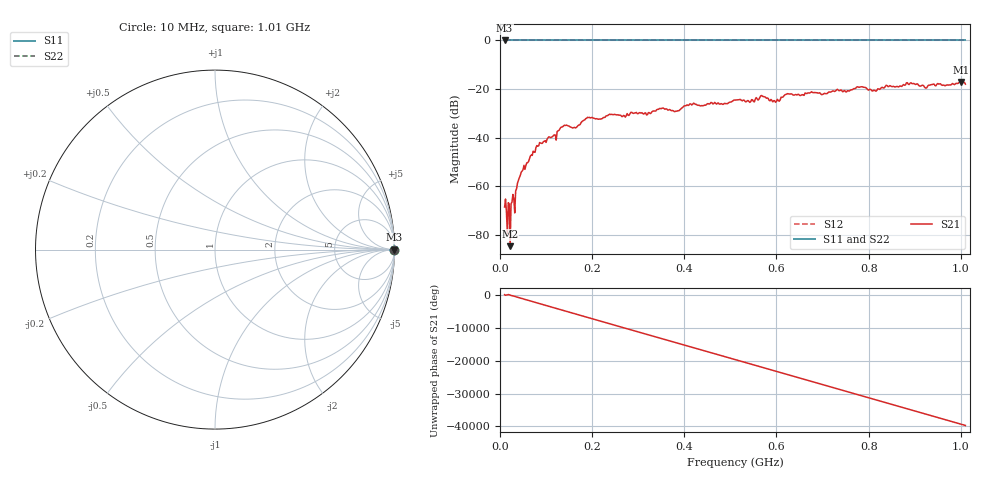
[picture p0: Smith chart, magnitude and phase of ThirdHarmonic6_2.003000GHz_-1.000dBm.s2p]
! 8/17/2025 12:03:54 AM
! C:\ANRITSUVNA\TEMP\TEMP.S2P
! CHANNEL.1
! TR.MEASUREMENT
! RAW.DATA
! RF.CORRECTION.OFF
! AVERAGING.OFF
! IF.BANDWIDTH: 5KHZ
! SWEEPTYPE:  FREQ.SWEEP(Linear)
! Reference Plane Port Info
! PORT:  PORT1  PORT2
! DISTANCE:  0  m  0  m
! TIME:  0  s  0  s
! PHASE.OFFSET:  0  deg.  0  deg.
! LOSS:  0  dB  0  dB
! REF.LOSS:  0  dB  0  dB
! REF.FREQ:  0  Hz  0  Hz
! Power Info
! POWER:  -20  dBm  -20  dBm
! EFF.POWER:  -20  dBm  -20  dBm
! SOURCE.ATTEN:  0  dB  0  dB
! TEST.ATTEN:  0  dB  0  dB
# GHZ S RI R 50.0
! FREQ.GHZ  S11RE  S11IM  S21RE  S21IM  S12RE  S12IM  S22RE  S22IM
!; PortSelection: Port_12
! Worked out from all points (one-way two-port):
!   501 points, 10 MHz to 1.01 GHz, reference 50 ohm
!   highest |S21| = -17.11 dB at 1 GHz (marker M1); lowest = -84.7 dB at 22 MHz (marker M2)
!   lowest |S11| = 0.0 dB at 10 MHz (marker M3)
!   |S11| at or under -10 dB: nowhere
!   |S22| runs from 0.0 to 0.0 dB; largest |S21 - S12| = 1.1
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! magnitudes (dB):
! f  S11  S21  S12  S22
! 10 MHz  0.0  -68.6  0.0  0.0
! 12 MHz  0.0  -65.3  0.0  0.0
! 16 MHz  0.0  -79.4  0.0  0.0
! 18 MHz  0.0  -66.8  0.0  0.0
! 22 MHz  0.0  -84.7  0.0  0.0
! 48 MHz  0.0  -53.8  0.0  0.0
! 82 MHz  0.0  -43.5  0.0  0.0
! 118 MHz  0.0  -38.9  0.0  0.0
! 136 MHz  0.0  -35.5  0.0  0.0
! 162 MHz  0.0  -35.8  0.0  0.0
! 178 MHz  0.0  -33.4  0.0  0.0
! 344 MHz  0.0  -28.4  0.0  0.0
! 382 MHz  0.0  -29.1  0.0  0.0
! 416 MHz  0.0  -26.5  0.0  0.0
! 510 MHz  0.0  -24.6  0.0  0.0
! 570 MHz  0.0  -23.0  0.0  0.0
! 596 MHz  0.0  -24.8  0.0  0.0
! 622 MHz  0.0  -22.1  0.0  0.0
! 678 MHz  0.0  -21.4  0.0  0.0
! 844 MHz  0.0  -19.0  0.0  0.0
! 1 GHz  0.0  -17.1  0.0  0.0
! 1.01 GHz  0.0  -18.0  0.0  0.0
